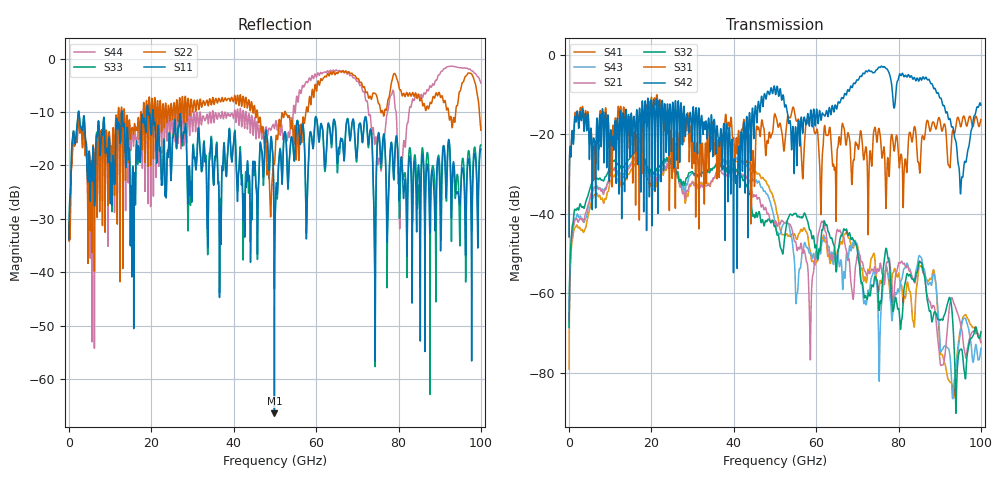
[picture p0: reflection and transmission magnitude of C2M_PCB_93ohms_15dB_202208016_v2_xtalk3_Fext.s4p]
! Info: Touchstone file created by Circ.  Input file=Intel_C2M_200G_4p0in_202208016_staggered.circ
# Hz S RI R 50
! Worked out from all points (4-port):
!   10000 points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, 10 MHz to 100 GHz, reference 50 ohm
!   strongest paths, dB at 10 MHz, 25.01 GHz, 50.01 GHz, 75.01 GHz, 100 GHz:
!     S42: -45.7, -15.3, -8.9, -3.3, -12.6
!     S31: -45.8, -30.2, -14.9, -19.6, -16.2
!     S32: -68.5, -26.6, -43.1, -59.3, -69.7
!     S21: -66.8, -28.4, -42.0, -54.0, -72.4
!     S43: -68.9, -26.7, -42.0, -64.1, -73.8
!     S41: -79.1, -28.3, -37.3, -58.9, -72.4
!   lowest |S11| = -66.4 dB at 49.86 GHz (marker M1), VSWR 1.00, Z = 50 - j0.0447 ohm
!   |S11| at or under -10 dB: 2.378 GHz to 12.77 GHz (10.4 GHz wide, 137 % of centre); 12.89 GHz to 18.86 GHz (5.973 GHz wide, 37.6 % of centre); 20.43 GHz to end of sweep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
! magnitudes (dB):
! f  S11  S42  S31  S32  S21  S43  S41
! 10 MHz  -33.9  -45.7  -45.8  -68.5  -66.8  -68.9  -79.1
! 1.48 GHz  -16.0  -15.5  -14.5  -38.9  -41.6  -41.2  -43.5
! 16.8 GHz  -16.7  -25.2  -22.6  -24.1  -25.8  -25.3  -26.9
! 40.38 GHz  -15.1  -30.0  -25.8  -29.1  -29.4  -26.4  -27.0
! 49.86 GHz  -66.4  -7.9  -15.1  -43.2  -42.5  -41.2  -36.9
! 95.27 GHz  -22.1  -31.6  -17.6  -74.0  -68.8  -68.4  -67.8
! 100 GHz  -16.9  -12.6  -16.2  -69.7  -72.4  -73.8  -72.4
